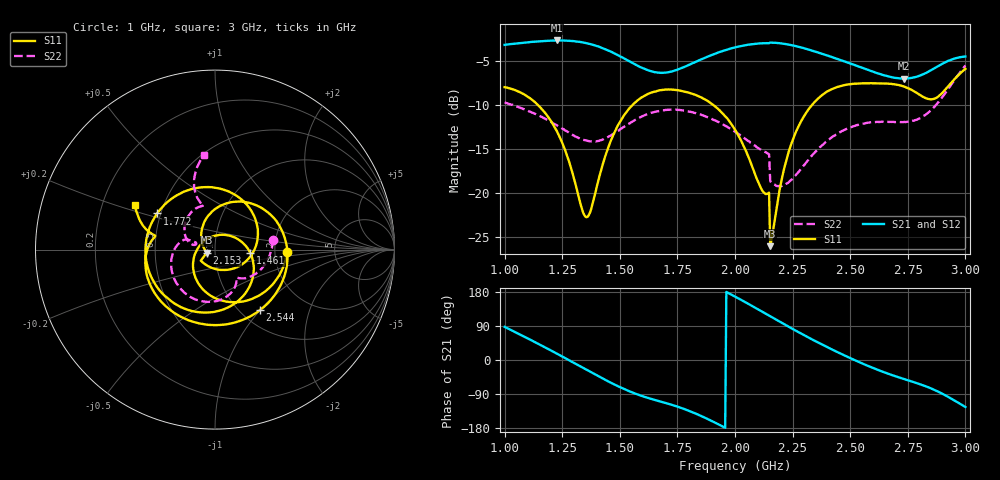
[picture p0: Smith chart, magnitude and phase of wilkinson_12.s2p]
#  HZ  S  DB  R  50.00
! Rohde & Schwarz Vector Network Analyzer
! Rohde-Schwarz,ZND-2Port,1328517092100682,2.70
! Created: UTC 11/29/2017, 5:37:19 PM
! freq[Hz]  db:S11  ang:S11  db:S21  ang:S21  db:S12  ang:S12  db:S22  ang:S22
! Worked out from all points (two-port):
!   400 points, 1 GHz to 3 GHz, reference 50 ohm
!   highest |S21| = -2.64 dB at 1.226 GHz (marker M1); lowest = -7.0 dB at 2.734 GHz (marker M2)
!   |S21| within 3 dB of the highest: start of sweep to 1.586 GHz; 1.782 GHz to 2.54 GHz (758.8 MHz wide, 35.1 % of centre)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
!   lowest |S11| = -26.1 dB at 2.153 GHz (marker M3), VSWR 1.10, Z = 45.5 - j1.64 ohm
!   |S11| at or under -10 dB: 1.145 GHz to 1.555 GHz (410 MHz wide, 30.4 % of centre); 1.907 GHz to 2.334 GHz (427.2 MHz wide, 20.1 % of centre)
!   |S22| runs from -19.2 to -5.5 dB; largest |S21 - S12| = 0.0014
!   S11 on the Smith chart (normalised r, x): 1 GHz: 2.33, -0.07; 1.461 GHz: 1.49, -0.06; 1.772 GHz: 0.48, +0.23; 2.153 GHz: 0.91, -0.03; 2.544 GHz: 1.22, -1.00; 3 GHz: 0.34, +0.23
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1e9  -7.96 -1.9  -3.14 87.5  -3.14 87.5  -9.71 9.7
1.115288e9  -9.31 -53.9  -2.81 52.4  -2.82 52.4  -10.80 -17.5
1.225564e9  -12.90 -109.1  -2.64 17.3  -2.65 17.3  -12.29 -39.4
1.33584e9  -21.83 153.8  -2.85 -19.3  -2.85 -19.4  -13.92 -51.1
1.370927e9  -22.21 89.2  -3.05 -31.1  -3.05 -31.0  -14.13 -52.3
1.461153e9  -14.05 -5.9  -3.91 -60.1  -3.92 -60.0  -13.46 -55.9
1.581454e9  -9.38 -84.6  -5.57 -91.9  -5.58 -92.0  -11.50 -74.4
1.666667e9  -8.36 -140.6  -6.30 -108.1  -6.30 -108.0  -10.69 -94.7
1.77193e9  -8.40 148.0  -5.74 -127.6  -5.75 -127.5  -10.60 -123.1
1.867168e9  -9.32 86.5  -4.64 -151.7  -4.63 -151.7  -11.23 -148.9
2.002506e9  -12.91 3.7  -3.41 166.6  -3.42 166.6  -13.07 178.0
2.14787e9  -19.97 -142.0  -2.95 117.3  -2.95 117.2  -15.60 159.6
2.152882e9  -26.06 -158.8  -2.89 115.5  -2.88 115.5  -18.65 159.5
2.22807e9  -15.75 111.9  -3.09 89.4  -3.09 89.4  -18.88 166.7
2.333333e9  -10.01 56.7  -3.78 54.6  -3.79 54.6  -15.76 161.1
2.448622e9  -7.91 -0.4  -4.79 19.7  -4.79 19.7  -13.17 140.0
2.54386e9  -7.54 -53.4  -5.68 -6.9  -5.67 -6.9  -12.18 122.9
2.60401e9  -7.52 -89.8  -6.24 -22.3  -6.24 -22.3  -11.94 114.3
2.669173e9  -7.58 -128.5  -6.77 -37.1  -6.76 -37.2  -11.92 107.6
2.734336e9  -7.89 -162.3  -6.99 -50.4  -6.98 -50.4  -11.91 104.7
2.864662e9  -9.28 166.9  -5.82 -78.6  -5.82 -78.5  -10.21 109.0
3e9  -5.87 151.1  -4.47 -124.1  -4.47 -124.1  -5.49 96.4
